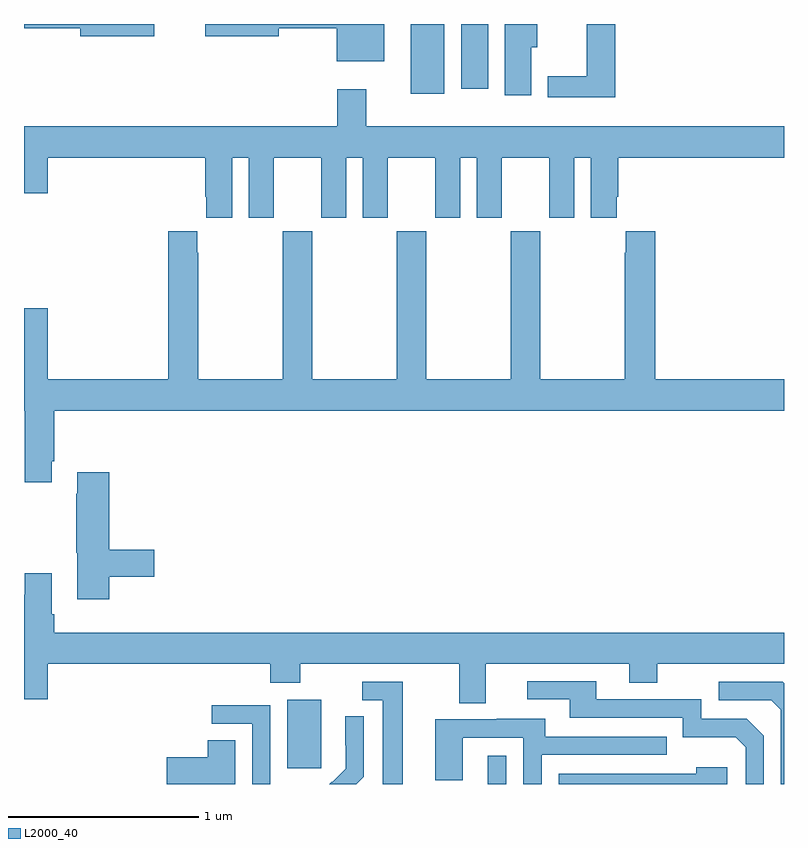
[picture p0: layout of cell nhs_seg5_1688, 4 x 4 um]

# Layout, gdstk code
import gdstk
lib = gdstk.Library(unit=1e-6, precision=1e-09)
def R(c, l, rs):  # rectangles x0, y0, x1, y1
    for r in rs: c.add(gdstk.rectangle(r[:2], r[2:], *l))
def P(c, l, *ps):  # polygons
    for p in ps: c.add(gdstk.Polygon(p, *l))
L2000_40 = (2000, 40)

nhs_seg5_1688 = lib.new_cell('nhs_seg5_1688')
R(nhs_seg5_1688, L2000_40, [(215.441,850.799,215.538,850.948), (214.385,850.881,214.564,851.242), (215.036,854.432,215.212,854.799), (215.3,854.457,215.443,854.799)])
P(nhs_seg5_1688, L2000_40, [(215.671,854.677),(215.701,854.677),(215.701,854.799),(215.531,854.799),(215.531,854.424),(215.671,854.424)],
  [(213.685,854.799),(213,854.799),(213,854.776),(213.296,854.776),(213.296,854.734),(213.685,854.734)],
  [(216.113,854.799),(215.962,854.799),(215.962,854.524),(215.757,854.524),(215.757,854.414),(216.113,854.414)],
  [(214.897,854.799),(213.954,854.799),(213.954,854.734),(214.342,854.734),(214.342,854.776),(214.646,854.776),(214.646,854.603),(214.897,854.603)],
  [(214.096,854.096),(214.184,854.096),(214.184,853.779),(214.315,853.779),(214.315,854.096),(214.565,854.096),(214.565,853.779),(214.696,853.779),(214.696,854.096),(214.784,854.096),(214.784,853.779),(214.915,853.779),(214.915,854.096),(215.165,854.096),(215.165,853.779),(215.296,853.779),(215.296,854.096),(215.384,854.096),(215.384,853.779),(215.515,853.779),(215.515,854.096),(215.765,854.096),(215.765,853.779),(215.896,853.779),(215.896,854.096),(215.984,854.096),(215.984,853.779),(216.121,853.779),(216.121,853.891),(216.128,853.891),(216.128,854.096),(217,854.096),(217,854.26),(214.801,854.26),(214.801,854.455),(214.649,854.455),(214.649,854.26),(213,854.26),(213,853.908),(213.124,853.908),(213.124,854.096),(213.953,854.096),(213.953,853.891),(213.959,853.891),(213.959,853.779),(214.096,853.779)],
  [(213.145,852.499),(213.158,852.499),(213.158,852.764),(217,852.764),(217,852.928),(216.323,852.928),(216.323,853.708),(216.167,853.708),(216.167,853.595),(216.163,853.595),(216.163,852.928),(215.718,852.928),(215.718,853.708),(215.563,853.708),(215.563,852.928),(215.118,852.928),(215.118,853.708),(214.963,853.708),(214.963,852.928),(214.518,852.928),(214.518,853.708),(214.363,853.708),(214.363,852.928),(213.918,852.928),(213.918,853.595),(213.913,853.595),(213.913,853.708),(213.758,853.708),(213.758,852.928),(213.124,852.928),(213.124,853.303),(213,853.303),(213,852.764),(213.005,852.764),(213.005,852.387),(213.145,852.387)],
  [(213.449,851.89),(213.685,851.89),(213.685,852.032),(213.449,852.032),(213.449,852.439),(213.281,852.439),(213.281,852.326),(213.274,852.326),(213.274,852.015),(213.281,852.015),(213.281,851.772),(213.449,851.772)],
  [(215.431,851.432),(216.185,851.432),(216.185,851.333),(216.333,851.333),(216.333,851.432),(217,851.432),(217,851.596),(213.158,851.596),(213.158,851.692),(213.145,851.692),(213.145,851.908),(213.005,851.908),(213.005,851.795),(213,851.795),(213,851.244),(213.124,851.244),(213.124,851.432),(214.295,851.432),(214.295,851.333),(214.455,851.333),(214.455,851.432),(215.291,851.432),(215.291,851.224),(215.431,851.224)],
  [(216.894,851.052),(216.804,851.142),(216.564,851.142),(216.564,851.244),(216.013,851.244),(216.013,851.34),(215.649,851.34),(215.649,851.244),(215.873,851.244),(215.873,851.148),(216.468,851.148),(216.468,851.045),(216.745,851.045),(216.798,850.992),(216.798,850.799),(216.894,850.799)],
  [(217,851.33),(216.993,851.337),(216.657,851.337),(216.657,851.241),(216.933,851.241),(216.984,851.19),(216.984,850.799),(217,850.799)],
  [(214.993,851.337),(214.779,851.337),(214.779,851.241),(214.889,851.241),(214.889,850.799),(214.993,850.799)],
  [(214.296,851.214),(213.987,851.214),(213.987,851.115),(214.2,851.115),(214.2,850.799),(214.296,850.799)],
  [(214.788,850.838),(214.788,851.156),(214.692,851.156),(214.692,851.002),(214.694,851.002),(214.694,850.88),(214.623,850.809),(214.62,850.812),(214.607,850.799),(214.749,850.799)],
  [(215.724,850.953),(216.383,850.953),(216.383,851.049),(215.743,851.049),(215.743,851.143),(215.489,851.143),(215.489,851.139),(215.165,851.139),(215.165,850.819),(215.31,850.819),(215.31,851.043),(215.628,851.043),(215.628,850.799),(215.724,850.799)],
  [(214.111,851.03),(213.968,851.03),(213.968,850.94),(213.75,850.94),(213.75,850.799),(214.111,850.799)],
  [(216.7,850.888),(216.539,850.888),(216.539,850.854),(215.814,850.854),(215.814,850.799),(216.7,850.799)])

lib.write_gds('nhs_seg5_1688.gds')
